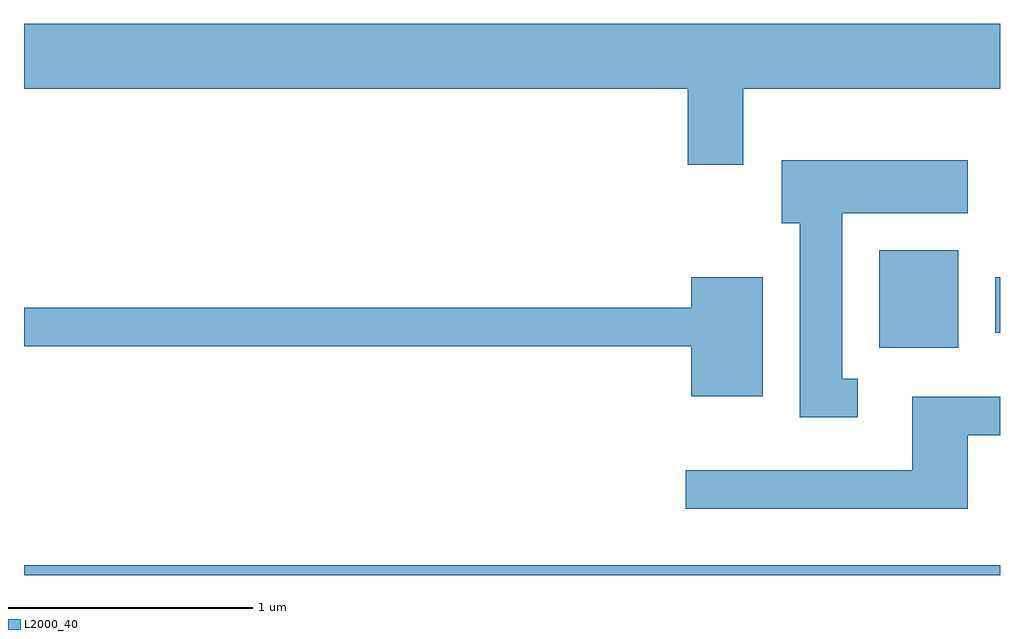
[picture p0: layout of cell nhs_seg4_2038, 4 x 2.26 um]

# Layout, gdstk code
import gdstk
lib = gdstk.Library(unit=1e-6, precision=1e-09)
def R(c, l, rs):  # rectangles x0, y0, x1, y1
    for r in rs: c.add(gdstk.rectangle(r[:2], r[2:], *l))
def P(c, l, *ps):  # polygons
    for p in ps: c.add(gdstk.Polygon(p, *l))
L2000_40 = (2000, 40)

nhs_seg4_2038 = lib.new_cell('nhs_seg4_2038')
R(nhs_seg4_2038, L2000_40, [(243.611,1385.982,247.611,1386.024), (247.116,1386.916,247.439,1387.314), (247.591,1386.976,247.611,1387.204)])
P(nhs_seg4_2038, L2000_40, [(246.559,1387.976),(247.611,1387.976),(247.611,1388.244),(243.611,1388.244),(243.611,1387.976),(246.331,1387.976),(246.331,1387.666),(246.559,1387.666)],
  [(247.028,1386.789),(246.964,1386.789),(246.964,1387.466),(247.479,1387.466),(247.479,1387.684),(246.716,1387.684),(246.716,1387.426),(246.791,1387.426),(246.791,1386.631),(247.028,1386.631)],
  [(246.639,1387.204),(246.346,1387.204),(246.346,1387.079),(243.611,1387.079),(243.611,1386.921),(246.346,1386.921),(246.346,1386.716),(246.639,1386.716)],
  [(247.479,1386.556),(247.611,1386.556),(247.611,1386.714),(247.251,1386.714),(247.251,1386.414),(246.323,1386.414),(246.323,1386.256),(247.479,1386.256)])

lib.write_gds('nhs_seg4_2038.gds')
